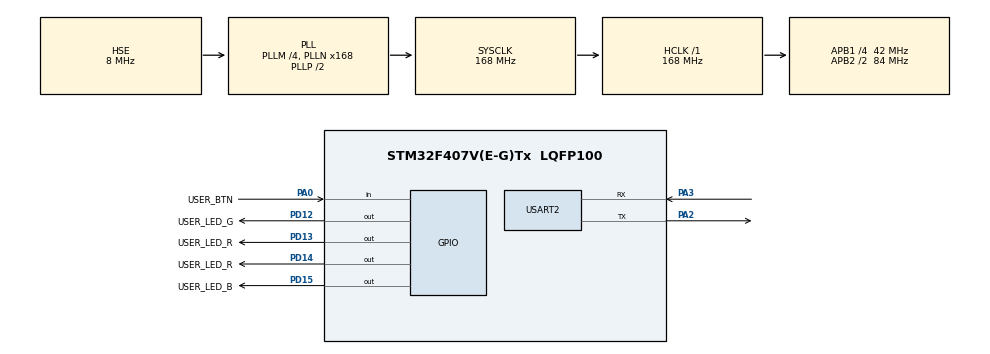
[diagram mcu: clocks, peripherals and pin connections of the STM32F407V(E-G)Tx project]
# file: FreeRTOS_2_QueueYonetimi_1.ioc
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FREERTOS.INCLUDE_eTaskGetState=1
FREERTOS.Tasks01=SenderTask1,0,128,SenderFunction,Default,NULL,Dynamic,NULL,NULL;SenderTask2,0,128,SenderFunction,Default,NULL,Dynamic,NULL,NULL;ReceiverTask,-1,128,ReceiveFunction,Default,NULL,Dynamic,NULL,NULL
Mcu.Family=STM32F4
Mcu.Name=STM32F407V(E-G)Tx
Mcu.Package=LQFP100
NVIC.PriorityGroup=NVIC_PRIORITYGROUP_4
NVIC.TIM1_UP_TIM10_IRQn=true\:0\:0\:false\:false\:true\:false\:false\:true
NVIC.TimeBase=TIM1_UP_TIM10_IRQn
NVIC.TimeBaseIP=TIM1
PA0-WKUP.GPIO_Label=USER_BTN
PA0-WKUP.Signal=GPIO_Input
PA2.Mode=Asynchronous
PA2.Signal=USART2_TX
PA3.Mode=Asynchronous
PA3.Signal=USART2_RX
PD12.GPIO_Label=USER_LED_G
PD12.Signal=GPIO_Output
PD13.GPIO_Label=USER_LED_R
PD13.Signal=GPIO_Output
PD14.GPIO_Label=USER_LED_R
PD14.Signal=GPIO_Output
PD15.GPIO_Label=USER_LED_B
PD15.Signal=GPIO_Output
PH0-OSC_IN.Mode=HSE-External-Oscillator
PH0-OSC_IN.Signal=RCC_OSC_IN
PH1-OSC_OUT.Mode=HSE-External-Oscillator
PH1-OSC_OUT.Signal=RCC_OSC_OUT
ProjectManager.HeapSize=0x200
ProjectManager.StackSize=0x400
ProjectManager.TargetToolchain=STM32CubeIDE
RCC.48MHZClocksFreq_Value=84000000
RCC.AHBFreq_Value=168000000
RCC.APB1CLKDivider=RCC_HCLK_DIV4
RCC.APB1Freq_Value=42000000
RCC.APB1TimFreq_Value=84000000
RCC.APB2CLKDivider=RCC_HCLK_DIV2
RCC.APB2Freq_Value=84000000
RCC.APB2TimFreq_Value=168000000
RCC.CortexFreq_Value=168000000
RCC.HCLKFreq_Value=168000000
RCC.HSE_VALUE=8000000
RCC.HSI_VALUE=16000000
RCC.LSE_VALUE=32768
RCC.PLLM=4
RCC.PLLN=168
RCC.PLLSourceVirtual=RCC_PLLSOURCE_HSE
RCC.SYSCLKFreq_VALUE=168000000
RCC.SYSCLKSource=RCC_SYSCLKSOURCE_PLLCLK
RCC.VCOOutputFreq_Value=336000000
USART2.VirtualMode=VM_ASYNC
VP_FREERTOS_VS_CMSIS_V1.Mode=CMSIS_V1
VP_SYS_VS_tim1.Mode=TIM1
board=custom

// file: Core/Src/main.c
/* USER CODE BEGIN Header */
/**
  ******************************************************************************
  * @file           : main.c
  * @brief          : Main program body
  ******************************************************************************
  * @attention
  *
  * <h2><center>&copy; Copyright (c) 2020 STMicroelectronics.
  * All rights reserved.</center></h2>
  *
  * This software component is licensed by ST under BSD 3-Clause license,
  * the "License"; You may not use this file except in compliance with the
  * License. You may obtain a copy of the License at:
  *                        opensource.org/licenses/BSD-3-Clause
  *
  ******************************************************************************
  */
/* USER CODE END Header */
#include "main.h"
#include "cmsis_os.h"

/* USER CODE BEGIN Includes */
#include "string.h"
#include "stdio.h"
/* USER CODE END Includes */

UART_HandleTypeDef huart2;

osThreadId SenderTask1Handle;
osThreadId SenderTask2Handle;
osThreadId ReceiverTaskHandle;
/* USER CODE BEGIN PV */
QueueHandle_t xQueue;
/* USER CODE END PV */

void SystemClock_Config(void);
static void MX_GPIO_Init(void);
static void MX_USART2_UART_Init(void);
void SenderFunction(void const * argument);
void ReceiveFunction(void const * argument);

/* USER CODE BEGIN PFP */
void UartPrint(char* message);
/* USER CODE END PFP */

/* USER CODE BEGIN 0 */

typedef enum
{
	eSender1,
	eSender2
} DataSource_t;

typedef struct
{
	uint8_t ucValue;
	DataSource_t eDataSource;
} Data_t;

static const Data_t xStructsToSend[ 2 ] =
{
	{ 100, eSender1 },
	{ 200, eSender2 }
};

/* USER CODE END 0 */

int main(void)
{

  /* MCU Configuration--------------------------------------------------------*/

  /* Reset of all peripherals, Initializes the Flash interface and the Systick. */
  HAL_Init();

  /* Configure the system clock */
  SystemClock_Config();

  /* Initialize all configured peripherals */
  MX_GPIO_Init();
  MX_USART2_UART_Init();

  /* USER CODE BEGIN RTOS_QUEUES */
  xQueue = xQueueCreate(3, sizeof(Data_t));

  if(xQueue != NULL)
  {
  /* add queues, ... */
  /* USER CODE END RTOS_QUEUES */

  /* Create the thread(s) */
  /* definition and creation of SenderTask1 */
  osThreadDef(SenderTask1, SenderFunction, osPriorityNormal, 0, 128);
  SenderTask1Handle = osThreadCreate(osThread(SenderTask1), (void*)&xStructsToSend[0]);

  /* definition and creation of SenderTask2 */
  osThreadDef(SenderTask2, SenderFunction, osPriorityNormal, 0, 128);
  SenderTask2Handle = osThreadCreate(osThread(SenderTask2), (void*)&xStructsToSend[1]);

  /* definition and creation of ReceiverTask */
  osThreadDef(ReceiverTask, ReceiveFunction, osPriorityBelowNormal, 0, 128);
  ReceiverTaskHandle = osThreadCreate(osThread(ReceiverTask), NULL);

  }

  /* Start scheduler */
  osKernelStart();

  /* We should never get here as control is now taken by the scheduler */
  /* Infinite loop */
  while (1)
  {

  }
}

void SystemClock_Config(void)
{
  RCC_OscInitTypeDef RCC_OscInitStruct = {0};
  RCC_ClkInitTypeDef RCC_ClkInitStruct = {0};

  /** Configure the main internal regulator output voltage
  */
  __HAL_RCC_PWR_CLK_ENABLE();
  __HAL_PWR_VOLTAGESCALING_CONFIG(PWR_REGULATOR_VOLTAGE_SCALE1);
  /** Initializes the RCC Oscillators according to the specified parameters
  * in the RCC_OscInitTypeDef structure.
  */
  RCC_OscInitStruct.OscillatorType = RCC_OSCILLATORTYPE_HSE;
  RCC_OscInitStruct.HSEState = RCC_HSE_ON;
  RCC_OscInitStruct.PLL.PLLState = RCC_PLL_ON;
  RCC_OscInitStruct.PLL.PLLSource = RCC_PLLSOURCE_HSE;
  RCC_OscInitStruct.PLL.PLLM = 4;
  RCC_OscInitStruct.PLL.PLLN = 168;
  RCC_OscInitStruct.PLL.PLLP = RCC_PLLP_DIV2;
  RCC_OscInitStruct.PLL.PLLQ = 4;
  if (HAL_RCC_OscConfig(&RCC_OscInitStruct) != HAL_OK)
  {
    Error_Handler();
  }
  /** Initializes the CPU, AHB and APB buses clocks
  */
  RCC_ClkInitStruct.ClockType = RCC_CLOCKTYPE_HCLK|RCC_CLOCKTYPE_SYSCLK
                              |RCC_CLOCKTYPE_PCLK1|RCC_CLOCKTYPE_PCLK2;
  RCC_ClkInitStruct.SYSCLKSource = RCC_SYSCLKSOURCE_PLLCLK;
  RCC_ClkInitStruct.AHBCLKDivider = RCC_SYSCLK_DIV1;
  RCC_ClkInitStruct.APB1CLKDivider = RCC_HCLK_DIV4;
  RCC_ClkInitStruct.APB2CLKDivider = RCC_HCLK_DIV2;

  if (HAL_RCC_ClockConfig(&RCC_ClkInitStruct, FLASH_LATENCY_5) != HAL_OK)
  {
    Error_Handler();
  }
}

static void MX_USART2_UART_Init(void)
{

  huart2.Instance = USART2;
  huart2.Init.BaudRate = 115200;
  huart2.Init.WordLength = UART_WORDLENGTH_8B;
  huart2.Init.StopBits = UART_STOPBITS_1;
  huart2.Init.Parity = UART_PARITY_NONE;
  huart2.Init.Mode = UART_MODE_TX_RX;
  huart2.Init.HwFlowCtl = UART_HWCONTROL_NONE;
  huart2.Init.OverSampling = UART_OVERSAMPLING_16;
  if (HAL_UART_Init(&huart2) != HAL_OK)
  {
    Error_Handler();
  }

}

static void MX_GPIO_Init(void)
{
  GPIO_InitTypeDef GPIO_InitStruct = {0};

  /* GPIO Ports Clock Enable */
  __HAL_RCC_GPIOH_CLK_ENABLE();
  __HAL_RCC_GPIOA_CLK_ENABLE();
  __HAL_RCC_GPIOD_CLK_ENABLE();

  /*Configure GPIO pin Output Level */
  HAL_GPIO_WritePin(GPIOD, USER_LED_G_Pin|USER_LED_R_Pin|USER_LED_RD14_Pin|USER_LED_B_Pin, GPIO_PIN_RESET);

  /*Configure GPIO pin : USER_BTN_Pin */
  GPIO_InitStruct.Pin = USER_BTN_Pin;
  GPIO_InitStruct.Mode = GPIO_MODE_INPUT;
  GPIO_InitStruct.Pull = GPIO_NOPULL;
  HAL_GPIO_Init(USER_BTN_GPIO_Port, &GPIO_InitStruct);

  /*Configure GPIO pins : USER_LED_G_Pin USER_LED_R_Pin USER_LED_RD14_Pin USER_LED_B_Pin */
  GPIO_InitStruct.Pin = USER_LED_G_Pin|USER_LED_R_Pin|USER_LED_RD14_Pin|USER_LED_B_Pin;
  GPIO_InitStruct.Mode = GPIO_MODE_OUTPUT_PP;
  GPIO_InitStruct.Pull = GPIO_NOPULL;
  GPIO_InitStruct.Speed = GPIO_SPEED_FREQ_LOW;
  HAL_GPIO_Init(GPIOD, &GPIO_InitStruct);

}

/* USER CODE BEGIN 4 */

void UartPrint(char* message)
{
	HAL_UART_Transmit(&huart2, (uint8_t*)message, strlen(message), 20);
}

/* USER CODE END 4 */

void SenderFunction(void const * argument)
{
  /* USER CODE BEGIN 5 */
	BaseType_t xStatus;
	const TickType_t xTicksToWait = pdMS_TO_TICKS( 5000 );

  /* Infinite loop */
  for(;;)
  {
	  osThreadState stateS1;
	  stateS1 = osThreadGetState(SenderTask1Handle);

	  osThreadState stateS2;
	  stateS2 = osThreadGetState(SenderTask2Handle);

	  // Iki ayri task'den gelen veriyi kuyruga yazar. Eger kuyruk full olursa ve 100ms icerisinde bosluk acilmazsa
	  // Kernel kaldigi yerden kodu islemeye devam edecektir. Fakat 100ms daha once kuyrukta yer acilirsa veriye kuyruga yazip gecicektir.

	  // Gonderme TASK'inin onceligi daha fazla oldugundan kuyruk full olana kadar icerisine veri yazmaya devam eder.
	  // Kuyruk full oldugundan ise artik veri yazamayacagi icin KERNEL Gonderme TASK'ini 100 ms boyunca kuyrukta bosluk acilana kadar "Blocked" moduna alir.

	  xStatus = xQueueSendToBack( xQueue, argument, xTicksToWait );

	  if( xStatus != pdPASS )
	  {
		  UartPrint("Veri kuyruga yazilamadi..\r\n");
	  }
  }
  /* USER CODE END 5 */
}

void ReceiveFunction(void const * argument)
{
  /* USER CODE BEGIN ReceiveFunction */

	Data_t xReceivedStructure;
	BaseType_t xStatus;

	// Kuyruk full olmadan OKUMA taski calismayacaktir. Cunku OKUMA taskinin onceligi dusuktur bu sebeple
	// GONDERME task'i "Blocked" moda girmeden OKUMA taski calismayacaktir.

	if( uxQueueMessagesWaiting( xQueue ) != 3 )
	{
		UartPrint("Kuyruk tam dolmadi!!!\r\n" );
	}

  /* Infinite loop */
  for(;;)
  {

	  // Gonderme TASK'i kuyruk full oldugu icin "Blocked" durumdadir ve bu yüzden KERNEL Okuma Task'ini calistirir.
	  // Kuyrukdan veri okundugu gibi Gonderme TASK'i calismaya devam eder.

	  xStatus = xQueueReceive( xQueue, &xReceivedStructure, 0 );

	  if( xStatus == pdPASS )
	  {
		  char msg[25];

		  if( xReceivedStructure.eDataSource == eSender1 )
		  {
			  snprintf(msg,25,"From Sender 1 = %u\r\n", xReceivedStructure.ucValue);
			  UartPrint(msg);
		  }
		  else
		  {
			  snprintf(msg,25,"From Sender 2 = %u\r\n", xReceivedStructure.ucValue);
			  UartPrint(msg);
		  }
	  }
	  else
	  {

		  UartPrint("Kuyruktan veri okunamadi.\r\n" );
	  }
  }
  /* USER CODE END ReceiveFunction */
}

void HAL_TIM_PeriodElapsedCallback(TIM_HandleTypeDef *htim)
{
  if (htim->Instance == TIM1) {
    HAL_IncTick();
  }
}

void Error_Handler(void)
{
}

/************************ (C) COPYRIGHT STMicroelectronics *****END OF FILE****/
